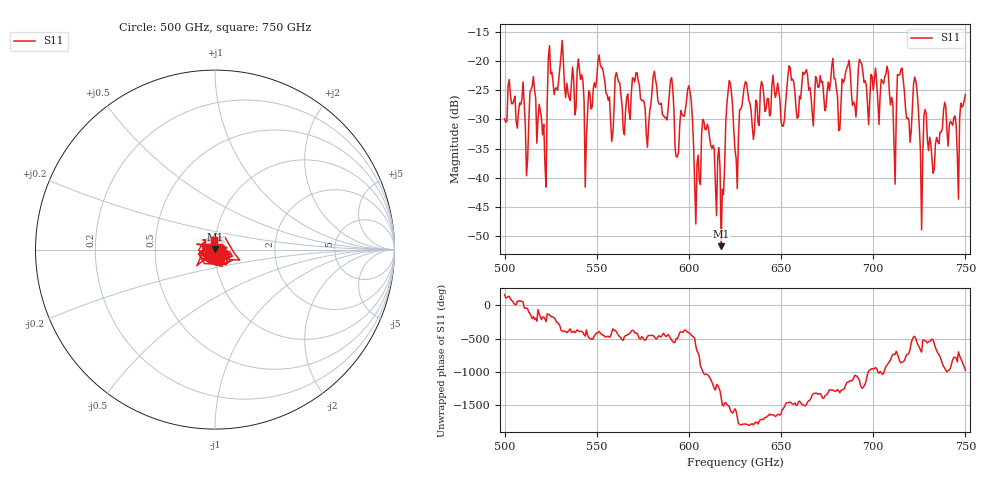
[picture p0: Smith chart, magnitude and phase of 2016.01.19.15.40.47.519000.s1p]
!Created with skrf (http://scikit-rf.org).
# GHz S RI R 50.0
!freq ReS11 ImS11
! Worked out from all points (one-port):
!   401 points, 500 GHz to 750 GHz, reference 50 ohm
!   lowest |S11| = -51.7 dB at 617.5 GHz (marker M1), VSWR 1.01, Z = 50.2 + j0.195 ohm
!   |S11| at or under -10 dB: start of sweep to end of sweep
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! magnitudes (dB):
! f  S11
! 500 GHz  -29.9
! 511.9 GHz  -39.6
! 515 GHz  -24.3
! 521.2 GHz  -30.9
! 524.4 GHz  -17.4
! 531.2 GHz  -16.5
! 544.4 GHz  -32.9
! 551.9 GHz  -20.6
! 562.5 GHz  -23.8
! 590.6 GHz  -22.9
! 593.8 GHz  -36.4
! 600 GHz  -24.2
! 604.4 GHz  -37.6
! 608.8 GHz  -31.7
! 617.5 GHz  -51.7
! 621.9 GHz  -23.4
! 625 GHz  -35.2
! 630.6 GHz  -23.5
! 656.2 GHz  -23.1
! 687.5 GHz  -21.8
! 706.9 GHz  -22.2
! 711.2 GHz  -33.9
! 714.4 GHz  -22.4
! 718.8 GHz  -29.7
! 723.1 GHz  -23.5
! 725.6 GHz  -35.6
! 732.5 GHz  -39.2
! 750 GHz  -25.8
